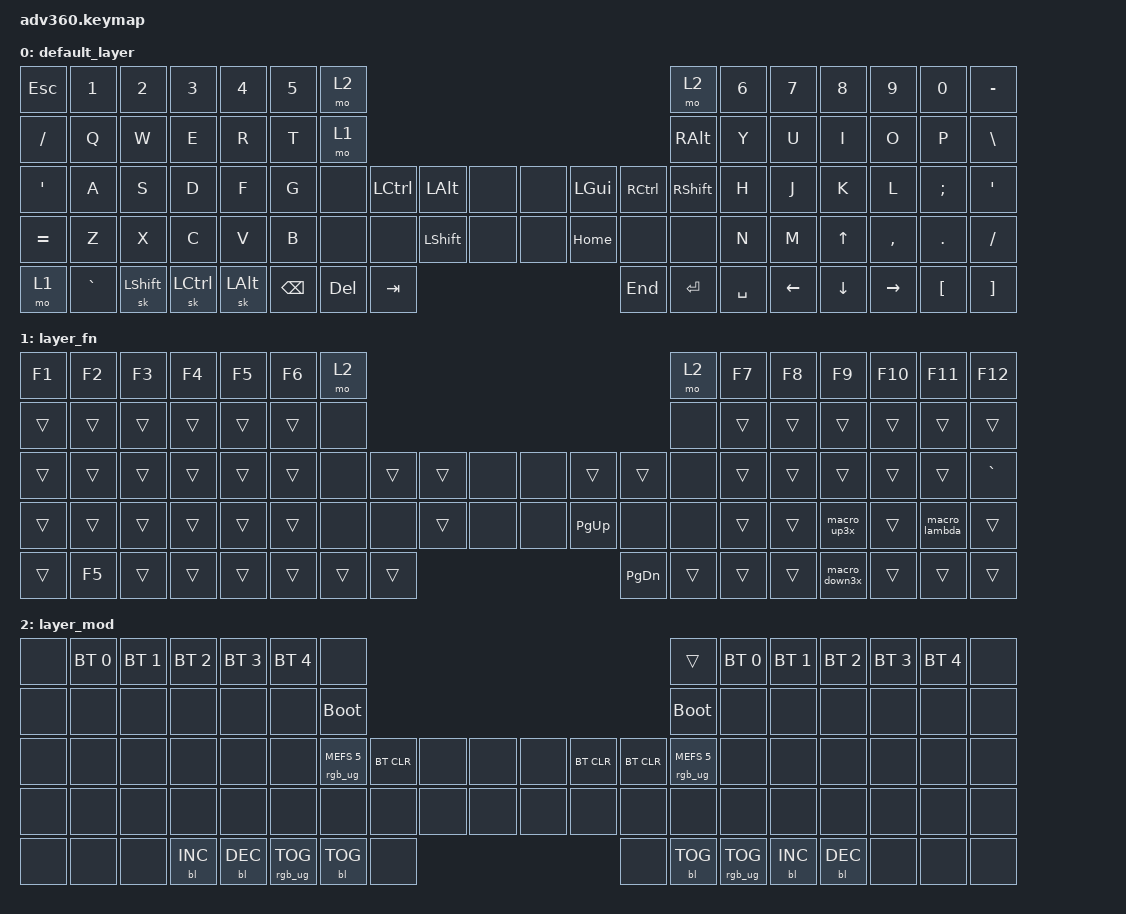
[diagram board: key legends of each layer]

/*
 * Copyright (c) 2020 The ZMK Contributors
 *
 * SPDX-License-Identifier: MIT
 */


/* THIS FILE WAS GENERATED!
 *
 * This file was generated automatically. You may or may not want to
 * edit it directly.
 */

#include <behaviors.dtsi>
#include <dt-bindings/zmk/keys.h>
#include <dt-bindings/zmk/bt.h>
#include <dt-bindings/zmk/rgb.h>
#include <dt-bindings/zmk/backlight.h>

/ {
  behaviors {
    #include "macros.dtsi"

    hm: homerow_mods {
        compatible = "zmk,behavior-hold-tap";
        label = "HOMEROW_MODS";
        #binding-cells = <2>;
        tapping-term-ms = <200>;
        quick_tap_ms = <175>;
        flavor = "tap-preferred";
        bindings = <&kp>, <&kp>;
    };
  };

    keymap {
        compatible = "zmk,keymap";


        default_layer {
            bindings = <
          &kp ESC     &kp N1     &kp N2     &kp N3    &kp N4  &kp N5               &mo 2                                                                        &mo 2  &kp N6    &kp N7    &kp N8     &kp N9    &kp N0  &kp MINUS
        &kp SLASH      &kp Q      &kp W      &kp E     &kp R   &kp T               &mo 1                                                                &kp RIGHT_ALT   &kp Y     &kp U     &kp I      &kp O     &kp P   &kp BSLH
 &kp SINGLE_QUOTE      &kp A      &kp S      &kp D     &kp F   &kp G               &none  &kp LCTRL    &kp LALT   &none   &none  &kp LGUI  &kp RCTRL  &kp RIGHT_SHIFT   &kp H     &kp J     &kp K      &kp L  &kp SEMI    &kp SQT
        &kp EQUAL      &kp Z      &kp X      &kp C     &kp V   &kp B               &none      &none  &kp LSHIFT   &none   &none  &kp HOME      &none            &none   &kp N     &kp M    &kp UP  &kp COMMA   &kp DOT   &kp FSLH
            &mo 1  &kp GRAVE  &sk LSHFT  &sk LCTRL  &sk LALT                    &kp BSPC    &kp DEL     &kp TAB                   &kp END  &kp ENTER        &kp SPACE          &kp LEFT  &kp DOWN  &kp RIGHT  &kp LBKT   &kp RBKT
            >;
        };

        layer_fn {
            bindings = <
 &kp F1  &kp F2  &kp F3  &kp F4  &kp F5  &kp F6             &mo 2                                                          &mo 2  &kp F7  &kp F8         &kp F9  &kp F10        &kp F11    &kp F12
 &trans  &trans  &trans  &trans  &trans  &trans             &none                                                          &none  &trans  &trans         &trans   &trans         &trans     &trans
 &trans  &trans  &trans  &trans  &trans  &trans             &none  &trans  &trans   &none   &none         &trans  &trans   &none  &trans  &trans         &trans   &trans         &trans  &kp GRAVE
 &trans  &trans  &trans  &trans  &trans  &trans             &none   &none  &trans   &none   &none    &kp PAGE_UP   &none   &none  &trans  &trans    &macro_up3x   &trans  &macro_lambda     &trans
 &trans  &kp F5  &trans  &trans  &trans                    &trans  &trans  &trans                  &kp PAGE_DOWN  &trans  &trans          &trans  &macro_down3x   &trans         &trans     &trans
            >;
        };

        layer_mod {
            bindings = <
  &none  &bt BT_SEL 0  &bt BT_SEL 1  &bt BT_SEL 2  &bt BT_SEL 3  &bt BT_SEL 4                             &none                                                                              &trans  &bt BT_SEL 0  &bt BT_SEL 1  &bt BT_SEL 2  &bt BT_SEL 3  &bt BT_SEL 4   &none
  &none         &none         &none         &none         &none         &none                       &bootloader                                                                         &bootloader         &none         &none         &none         &none         &none   &none
  &none         &none         &none         &none         &none         &none            &rgb_ug RGB_MEFS_CMD 5  &bt BT_CLR   &none   &none   &none  &bt BT_CLR  &bt BT_CLR  &rgb_ug RGB_MEFS_CMD 5         &none         &none         &none         &none         &none   &none
  &none         &none         &none         &none         &none         &none                             &none       &none   &none   &none   &none       &none       &none                   &none         &none         &none         &none         &none         &none   &none
  &none         &none         &none    &bl BL_INC    &bl BL_DEC                                 &rgb_ug RGB_TOG  &bl BL_TOG   &none                       &none  &bl BL_TOG         &rgb_ug RGB_TOG                  &bl BL_INC    &bl BL_DEC         &none         &none   &none
            >;
        };

    };
};
